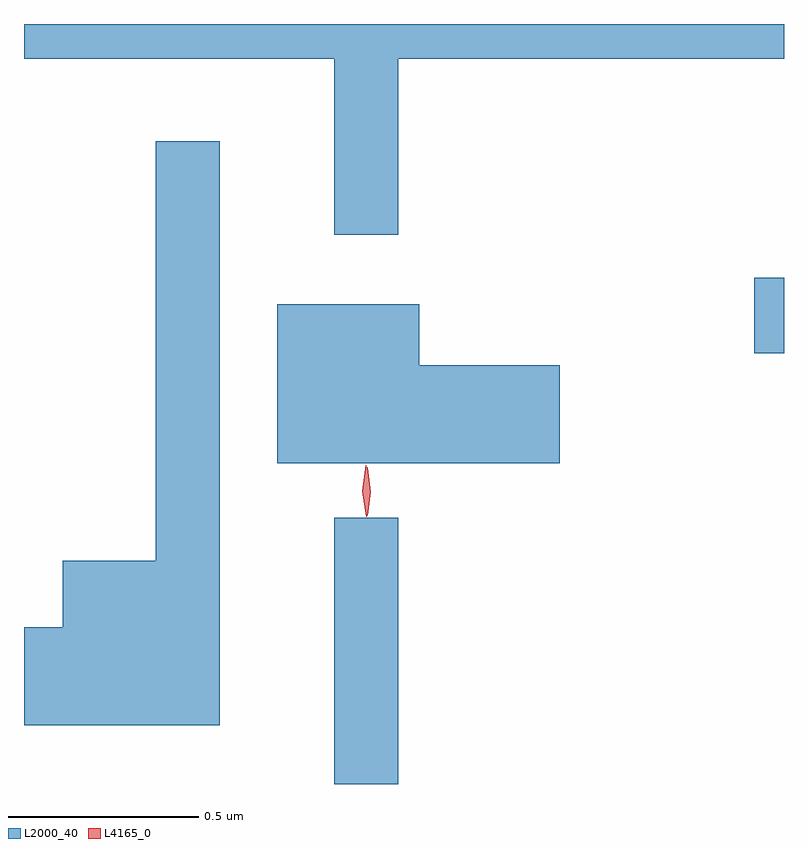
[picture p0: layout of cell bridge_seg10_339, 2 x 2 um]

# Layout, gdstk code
import gdstk
lib = gdstk.Library(unit=1e-6, precision=1e-09)
def R(c, l, rs):  # rectangles x0, y0, x1, y1
    for r in rs: c.add(gdstk.rectangle(r[:2], r[2:], *l))
def P(c, l, *ps):  # polygons
    for p in ps: c.add(gdstk.Polygon(p, *l))
L2000_40 = (2000, 40)
L4165_0 = (4165, 0)

bridge_seg10_339 = lib.new_cell('bridge_seg10_339')
R(bridge_seg10_339, L2000_40, [(1391.501,2189.707,1391.669,2190.408), (1392.606,2190.841,1392.684,2191.039)])
P(bridge_seg10_339, L2000_40, [(1391.669,2191.616),(1392.684,2191.616),(1392.684,2191.707),(1390.684,2191.707),(1390.684,2191.616),(1391.501,2191.616),(1391.501,2191.153),(1391.669,2191.153)],
  [(1391.199,2191.398),(1391.031,2191.398),(1391.031,2190.294),(1390.786,2190.294),(1390.786,2190.119),(1390.684,2190.119),(1390.684,2189.861),(1391.199,2189.861)],
  [(1392.094,2190.809),(1391.724,2190.809),(1391.724,2190.969),(1391.351,2190.969),(1391.351,2190.551),(1392.094,2190.551)])
P(bridge_seg10_339, L4165_0, [(1391.584,2190.41),(1391.574,2190.478),(1391.583,2190.546),(1391.584,2190.546),(1391.584,2190.546),(1391.594,2190.478),(1391.586,2190.41),(1391.585,2190.41)],
  [(1391.587,2190.413),(1391.586,2190.414),(1391.577,2190.476),(1391.586,2190.539),(1391.587,2190.54),(1391.588,2190.539),(1391.597,2190.476),(1391.588,2190.414)])

lib.write_gds('bridge_seg10_339.gds')
